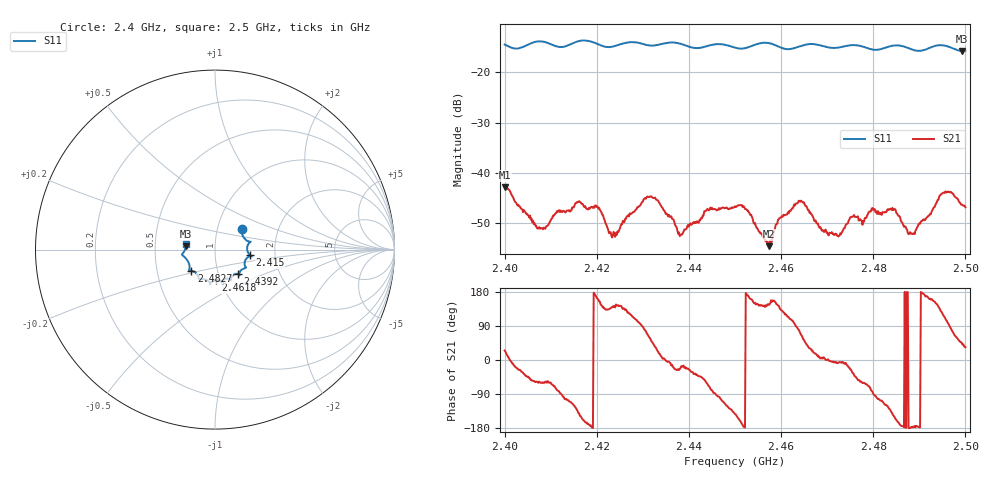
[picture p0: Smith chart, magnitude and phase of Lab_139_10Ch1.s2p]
# Hz S RI R 50
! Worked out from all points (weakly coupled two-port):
!   601 points, 2.4 GHz to 2.5 GHz, reference 50 ohm
!   highest |S21| = -42.89 dB at 2.4 GHz (marker M1); lowest = -54.7 dB at 2.4573 GHz (marker M2)
!   lowest |S11| = -15.7 dB at 2.4993 GHz (marker M3), VSWR 1.39, Z = 36 + j1.43 ohm
!   |S11| at or under -10 dB: start of sweep to end of sweep
!   S12 and S22 are empty: the file has one direction only
!   S11 on the Smith chart (normalised r, x): 2.4 GHz: 1.31, +0.31; 2.415 GHz: 1.48, -0.10; 2.4392 GHz: 1.24, -0.35; 2.4618 GHz: 0.95, -0.34; 2.4827 GHz: 0.75, -0.18; 2.5 GHz: 0.72, +0.05
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2.4e9  0.1505 0.1151  0.00649 0.00305  0 0  0 0
2.4075e9  0.1989 0.044  0.00154 -0.00241  0 0  0 0
2.415e9  0.1939 -0.0319  -0.00222 -0.00391  0 0  0 0
2.416667e9  0.2038 -0.0389  -0.00431 -0.00232  0 0  0 0
2.420167e9  0.1876 -0.0398  -0.00437 0.00148  0 0  0 0
2.423667e9  0.1646 -0.077  -0.00196 0.00166  0 0  0 0
2.430667e9  0.1536 -0.1092  0.00137 0.00532  0 0  0 0
2.433333e9  0.1357 -0.1308  0.00487 0.00192  0 0  0 0
2.439167e9  0.1276 -0.1354  0.00257 -0.000846  0 0  0 0
2.45e9  0.0717 -0.1613  -0.00367 -0.0028  0 0  0 0
2.457333e9  0.0447 -0.1908  -0.00153 0.00104  0 0  0 0
2.461833e9  0.00588 -0.1705  -0.00137 0.00395  0 0  0 0
2.464333e9  -0.0219 -0.1825  0.00211 0.00482  0 0  0 0
2.466667e9  -0.0268 -0.1899  0.00348 0.00158  0 0  0 0
2.472167e9  -0.0618 -0.1648  0.00233 -0.000267  0 0  0 0
2.4755e9  -0.0872 -0.1655  0.00302 -0.00204  0 0  0 0
2.482667e9  -0.1316 -0.1175  -0.00197 -0.00356  0 0  0 0
2.483333e9  -0.1373 -0.117  -0.00255 -0.00339  0 0  0 0
2.488167e9  -0.1415 -0.0957  -0.00247 -8.1e-05  0 0  0 0
2.495167e9  -0.1839 -0.0263  -0.00301 0.00551  0 0  0 0
2.499333e9  -0.1622 0.0194  0.00362 0.00314  0 0  0 0
2.5e9  -0.1617 0.0314  0.00376 0.0025  0 0  0 0
